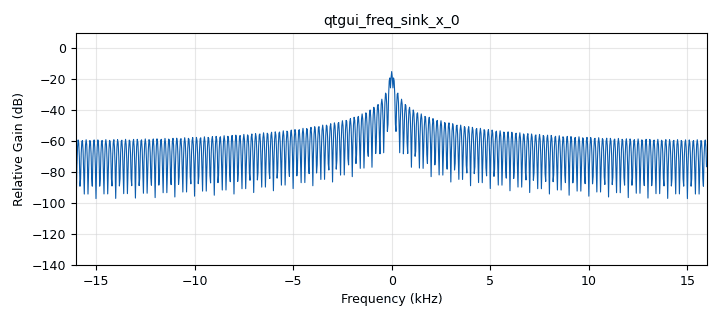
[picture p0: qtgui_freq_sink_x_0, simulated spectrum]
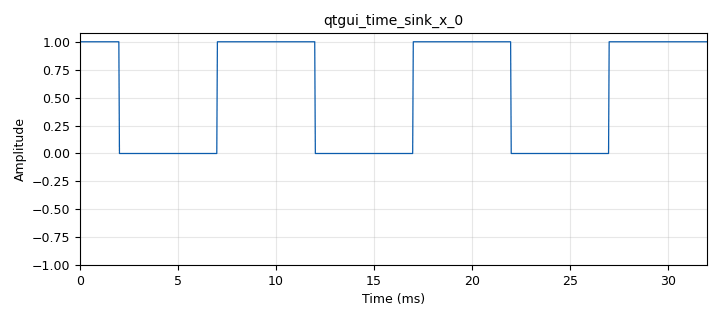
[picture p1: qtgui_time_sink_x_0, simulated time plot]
options:
  parameters:
    author: labcom
    generate_options: qt_gui
    id: lab_comu
    output_language: python
    title: prmer flujograma
  states: {}

blocks:
- name: amplitud
  id: variable_qtgui_range
  parameters:
    start: '0'
    step: '0.01'
    stop: '5'
    value: '1'
  states: {}
- name: frecuency
  id: variable
  parameters:
    value: samp_rate/320
  states: {state: disabled}
- name: frecuency_0
  id: variable_qtgui_range
  parameters:
    start: '-samp_rate/2'
    step: '100'
    stop: samp_rate/2
    value: '100'
  states: {}
- name: samp_rate
  id: variable
  parameters:
    value: '32000'
  states: {}
- name: analog_sig_source_x_0
  id: analog_sig_source_x
  parameters:
    amp: amplitud
    freq: frecuency_0
    offset: '0'
    phase: '0'
    samp_rate: samp_rate
    type: float
    waveform: analog.GR_SQR_WAVE
  states: {}
- name: blocks_throttle_0
  id: blocks_throttle
  parameters:
    samples_per_second: samp_rate
    type: float
  states: {}
- name: qtgui_freq_sink_x_0
  id: qtgui_freq_sink_x
  parameters:
    bw: samp_rate
    fc: '0'
    fftsize: '1024'
    type: float
  states: {}
- name: qtgui_time_sink_x_0
  id: qtgui_time_sink_x
  parameters:
    size: '1024'
    srate: samp_rate
    type: float
  states: {}

connections:
- [analog_sig_source_x_0, '0', blocks_throttle_0, '0']
- [blocks_throttle_0, '0', qtgui_freq_sink_x_0, '0']
- [blocks_throttle_0, '0', qtgui_time_sink_x_0, '0']

metadata:
  file_format: 1
  grc_version: 3.10.5.1
